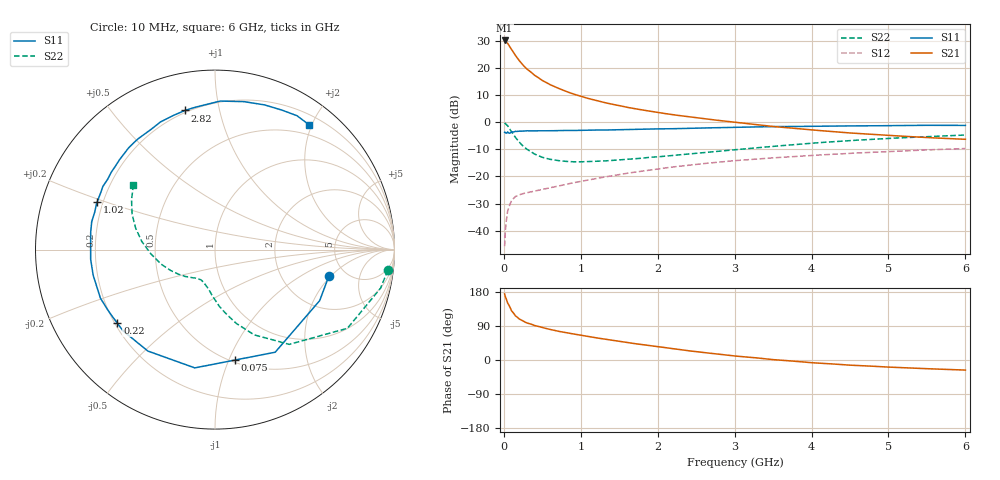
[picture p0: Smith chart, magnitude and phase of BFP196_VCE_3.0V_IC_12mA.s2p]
! Infineon Technologies  Discrete & RF Semiconductors
! BFP196
! VCE = 3.0 V,  IC =  12mA
! Common Emitter S-Parameters:  Jan 2016
# GHz  S  MA  R  50
!  f  S11  S21  S12  S22
! GHz  MAG  ANG  MAG  ANG  MAG  ANG  MAG  ANG
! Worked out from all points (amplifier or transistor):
!   210 points, 10 MHz to 6 GHz, reference 50 ohm
!   highest |S21| = 30.1 dB at 10 MHz (marker M1)
!   |S21| within 3 dB of that: start of sweep to 93.29 MHz
!   unconditionally stable (mu >= 1): 829.9 MHz to 3.414 GHz
!   at 185 MHz: K = 0.35, MSG = 25.1 dB, |S12| = -27.0 dB
!   at 1.52 GHz: K = 1.14, MAG = 10.3 dB, |S12| = -19.2 dB
!   at 6 GHz: K = 0.98, MSG = 1.7 dB, |S12| = -9.7 dB
!   S11 on the Smith chart (normalised r, x): 10 MHz: 3.68, -1.91; 75 MHz: 0.52, -1.05; 220 MHz: 0.21, -0.32; 1.02 GHz: 0.18, +0.19; 2.82 GHz: 0.19, +0.79; 6 GHz: 0.34, +1.97
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0.01  0.6511 -13.3  31.93 174.3  0.0052 86.0  0.9699 -6.8
0.02  0.6488 -26.0  31.12 166.9  0.0101 76.8  0.9473 -13.1
0.05  0.6628 -59.6  28.22 150.2  0.0231 64.9  0.8583 -30.7
0.075  0.6254 -79.7  24.7 141.3  0.0294 55.1  0.7517 -40.0
0.1  0.6686 -99.7  21.96 129.8  0.0362 48.9  0.6709 -51.9
0.15  0.6778 -123.5  16.94 116.6  0.0426 41.1  0.5239 -65.2
0.2  0.6836 -138.5  13.6 108.3  0.0459 37.2  0.4281 -73.9
0.22  0.6812 -142.9  12.62 106.1  0.0469 36.4  0.4005 -76.3
0.26  0.6857 -150.9  10.84 101.4  0.0487 35.1  0.3517 -81.4
0.3  0.6933 -157.0  9.516 97.8  0.0502 34.6  0.3172 -85.6
0.4  0.6936 -168.1  7.294 91.0  0.0539 35.7  0.2583 -93.2
0.5  0.6949 -175.5  5.852 85.6  0.0579 37.3  0.2252 -98.7
0.6  0.6937 177.6  4.919 80.6  0.0618 39.2  0.2069 -103.6
0.7  0.6992 172.1  4.247 76.1  0.0661 41.1  0.1962 -107.8
1.02  0.7081 157.8  2.933 64.7  0.0821 44.4  0.1863 -117.2
1.4  0.7209 143.3  2.144 52.5  0.1024 46.0  0.197 -126.6
2.02  0.7517 124.0  1.494 34.7  0.1386 44.0  0.231 -141.6
2.82  0.793 102.2  1.065 14.8  0.1848 37.2  0.2939 -160.8
3.1  0.8037 96.1  0.96 8.9  0.2 34.0  0.3192 -167.4
4.1  0.8412 77.3  0.701 -8.3  0.2482 23.1  0.4194 171.7
5.1  0.8639 63.1  0.559 -19.5  0.2914 11.9  0.5095 155.2
6  0.8708 52.8  0.483 -26.6  0.3267 1.5  0.5789 141.7
